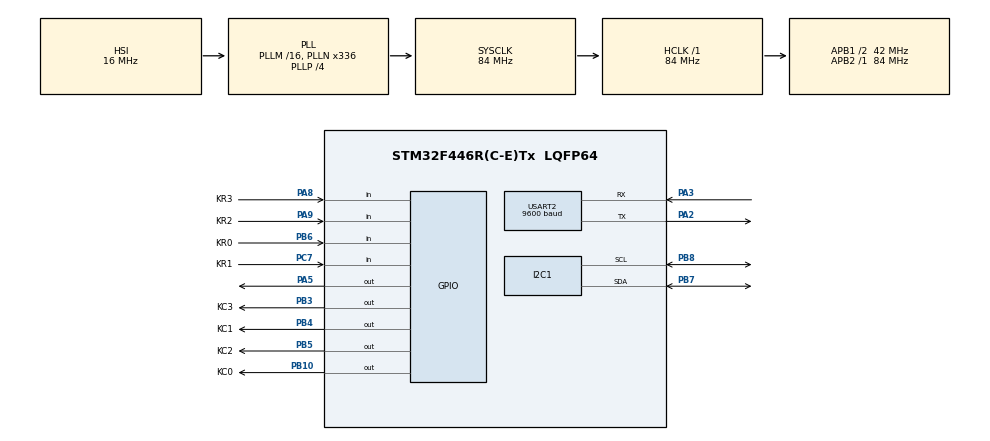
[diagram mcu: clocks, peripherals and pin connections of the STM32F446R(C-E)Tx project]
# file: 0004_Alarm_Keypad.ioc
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I2C1.I2C_Mode=I2C_Fast
Mcu.Family=STM32F4
Mcu.Name=STM32F446R(C-E)Tx
Mcu.Package=LQFP64
NVIC.PriorityGroup=NVIC_PRIORITYGROUP_0
NVIC.TIM6_DAC_IRQn=true\:0\:0\:false\:false\:true\:false\:true\:true
NVIC.TimeBase=TIM6_DAC_IRQn
NVIC.TimeBaseIP=TIM6
PA13.Mode=Serial_Wire
PA13.Signal=SYS_JTMS-SWDIO
PA14.Mode=Serial_Wire
PA14.Signal=SYS_JTCK-SWCLK
PA2.Mode=Asynchronous
PA2.Signal=USART2_TX
PA3.Mode=Asynchronous
PA3.Signal=USART2_RX
PA5.Signal=GPIO_Output
PA8.GPIO_Label=KR3
PA8.GPIO_PuPd=GPIO_PULLDOWN
PA8.Signal=GPIO_Input
PA9.GPIO_Label=KR2
PA9.GPIO_PuPd=GPIO_PULLDOWN
PA9.Signal=GPIO_Input
PB10.GPIO_Label=KC0
PB10.Signal=GPIO_Output
PB3.GPIO_Label=KC3
PB3.Signal=GPIO_Output
PB4.GPIO_Label=KC1
PB4.Signal=GPIO_Output
PB5.GPIO_Label=KC2
PB5.Signal=GPIO_Output
PB6.GPIO_Label=KR0
PB6.GPIO_PuPd=GPIO_PULLDOWN
PB6.Signal=GPIO_Input
PB7.Mode=I2C
PB7.Signal=I2C1_SDA
PB8.Mode=I2C
PB8.Signal=I2C1_SCL
PC14-OSC32_IN.Mode=LSE-External-Oscillator
PC14-OSC32_IN.Signal=RCC_OSC32_IN
PC15-OSC32_OUT.Mode=LSE-External-Oscillator
PC15-OSC32_OUT.Signal=RCC_OSC32_OUT
PC7.GPIO_Label=KR1
PC7.GPIO_PuPd=GPIO_PULLDOWN
PC7.Signal=GPIO_Input
PH0-OSC_IN.Mode=HSE-External-Oscillator
PH0-OSC_IN.Signal=RCC_OSC_IN
PH1-OSC_OUT.Mode=HSE-External-Oscillator
PH1-OSC_OUT.Signal=RCC_OSC_OUT
ProjectManager.HeapSize=0x200
ProjectManager.StackSize=0x400
ProjectManager.TargetToolchain=STM32CubeIDE
RCC.48MHZClocksFreq_Value=84000000
RCC.AHBFreq_Value=84000000
RCC.APB1CLKDivider=RCC_HCLK_DIV2
RCC.APB1Freq_Value=42000000
RCC.APB1TimFreq_Value=84000000
RCC.APB2Freq_Value=84000000
RCC.APB2TimFreq_Value=84000000
RCC.CortexFreq_Value=84000000
RCC.FLatency-AdvancedSettings=FLASH_LATENCY_2
RCC.HCLKFreq_Value=84000000
RCC.HSE_VALUE=8000000
RCC.HSI_VALUE=16000000
RCC.PLLN=336
RCC.PLLP=RCC_PLLP_DIV4
RCC.SYSCLKFreq_VALUE=84000000
RCC.SYSCLKSource=RCC_SYSCLKSOURCE_PLLCLK
RCC.USBFreq_Value=168000000
RCC.VCOOutputFreq_Value=336000000
USART2.BaudRate=9600
USART2.VirtualMode=VM_ASYNC
VP_SYS_VS_tim6.Mode=TIM6
board=NUCLEO-F446RE

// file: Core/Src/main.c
/* USER CODE BEGIN Header */
/**
  ******************************************************************************
  * @file           : main.c
  * @brief          : Main program body
  ******************************************************************************
  * @attention
  *
  * Copyright (c) 2024 STMicroelectronics.
  * All rights reserved.
  *
  * This software is licensed under terms that can be found in the LICENSE file
  * in the root directory of this software component.
  * If no LICENSE file comes with this software, it is provided AS-IS.
  *
  ******************************************************************************
  */
/* USER CODE END Header */
#include "main.h"

/* USER CODE BEGIN Includes */
#include "Keypad4X4.h"
#include <stdio.h>
#include <string.h>
#include <stdlib.h>
#include "fonts.h"
#include "ssd1306.h"

/* USER CODE END Includes */

I2C_HandleTypeDef hi2c1;

UART_HandleTypeDef huart2;

/* USER CODE BEGIN PV */
extern char key;
char hold[4];
/* USER CODE END PV */

void SystemClock_Config(void);
static void MX_GPIO_Init(void);
static void MX_USART2_UART_Init(void);
static void MX_I2C1_Init(void);

int main(void)
{

  /* MCU Configuration--------------------------------------------------------*/

  /* Reset of all peripherals, Initializes the Flash interface and the Systick. */
  HAL_Init();

  /* Configure the system clock */
  SystemClock_Config();

  /* Initialize all configured peripherals */
  MX_GPIO_Init();
  MX_USART2_UART_Init();
  MX_I2C1_Init();
  /* USER CODE BEGIN 2 */
  /* USER CODE BEGIN 2 */
    SSD1306_Init();
    SSD1306_GotoXY (0,0);
    //SSD1306_Puts ("Voltage:", &Font_11x18, 1);
    SSD1306_Puts ("Enter Code:", &Font_11x18, 1);
    SSD1306_GotoXY (0, 30);
    SSD1306_UpdateScreen();
    SSD1306_UpdateScreen();
    HAL_Delay (500);

  /* USER CODE END 2 */

  /* Infinite loop */
  while (1)
  {

    /* USER CODE BEGIN 3 */
	/* D10 to D7 as input pins for row 0 to row 3. D6 to D3 as output for column pins C1 to C3*/
	  key = Get_Key();
	  sprintf(hold, "%c", key);
	  HAL_UART_Transmit(&huart2, (uint8_t *)hold, strlen(hold), 100);
	  SSD1306_GotoXY (0, 30);
	  SSD1306_UpdateScreen();
	  SSD1306_Puts (hold, &Font_11x18, 1);
	  SSD1306_UpdateScreen();
	  HAL_Delay (500);
  }
  /* USER CODE END 3 */
}

void SystemClock_Config(void)
{
  RCC_OscInitTypeDef RCC_OscInitStruct = {0};
  RCC_ClkInitTypeDef RCC_ClkInitStruct = {0};

  /** Configure the main internal regulator output voltage
  */
  __HAL_RCC_PWR_CLK_ENABLE();
  __HAL_PWR_VOLTAGESCALING_CONFIG(PWR_REGULATOR_VOLTAGE_SCALE3);

  /** Initializes the RCC Oscillators according to the specified parameters
  * in the RCC_OscInitTypeDef structure.
  */
  RCC_OscInitStruct.OscillatorType = RCC_OSCILLATORTYPE_HSI;
  RCC_OscInitStruct.HSIState = RCC_HSI_ON;
  RCC_OscInitStruct.HSICalibrationValue = RCC_HSICALIBRATION_DEFAULT;
  RCC_OscInitStruct.PLL.PLLState = RCC_PLL_ON;
  RCC_OscInitStruct.PLL.PLLSource = RCC_PLLSOURCE_HSI;
  RCC_OscInitStruct.PLL.PLLM = 16;
  RCC_OscInitStruct.PLL.PLLN = 336;
  RCC_OscInitStruct.PLL.PLLP = RCC_PLLP_DIV4;
  RCC_OscInitStruct.PLL.PLLQ = 2;
  RCC_OscInitStruct.PLL.PLLR = 2;
  if (HAL_RCC_OscConfig(&RCC_OscInitStruct) != HAL_OK)
  {
    Error_Handler();
  }

  /** Initializes the CPU, AHB and APB buses clocks
  */
  RCC_ClkInitStruct.ClockType = RCC_CLOCKTYPE_HCLK|RCC_CLOCKTYPE_SYSCLK
                              |RCC_CLOCKTYPE_PCLK1|RCC_CLOCKTYPE_PCLK2;
  RCC_ClkInitStruct.SYSCLKSource = RCC_SYSCLKSOURCE_PLLCLK;
  RCC_ClkInitStruct.AHBCLKDivider = RCC_SYSCLK_DIV1;
  RCC_ClkInitStruct.APB1CLKDivider = RCC_HCLK_DIV2;
  RCC_ClkInitStruct.APB2CLKDivider = RCC_HCLK_DIV1;

  if (HAL_RCC_ClockConfig(&RCC_ClkInitStruct, FLASH_LATENCY_2) != HAL_OK)
  {
    Error_Handler();
  }
}

static void MX_I2C1_Init(void)
{

  hi2c1.Instance = I2C1;
  hi2c1.Init.ClockSpeed = 400000;
  hi2c1.Init.DutyCycle = I2C_DUTYCYCLE_2;
  hi2c1.Init.OwnAddress1 = 0;
  hi2c1.Init.AddressingMode = I2C_ADDRESSINGMODE_7BIT;
  hi2c1.Init.DualAddressMode = I2C_DUALADDRESS_DISABLE;
  hi2c1.Init.OwnAddress2 = 0;
  hi2c1.Init.GeneralCallMode = I2C_GENERALCALL_DISABLE;
  hi2c1.Init.NoStretchMode = I2C_NOSTRETCH_DISABLE;
  if (HAL_I2C_Init(&hi2c1) != HAL_OK)
  {
    Error_Handler();
  }

}

static void MX_USART2_UART_Init(void)
{

  huart2.Instance = USART2;
  huart2.Init.BaudRate = 9600;
  huart2.Init.WordLength = UART_WORDLENGTH_8B;
  huart2.Init.StopBits = UART_STOPBITS_1;
  huart2.Init.Parity = UART_PARITY_NONE;
  huart2.Init.Mode = UART_MODE_TX_RX;
  huart2.Init.HwFlowCtl = UART_HWCONTROL_NONE;
  huart2.Init.OverSampling = UART_OVERSAMPLING_16;
  if (HAL_UART_Init(&huart2) != HAL_OK)
  {
    Error_Handler();
  }

}

static void MX_GPIO_Init(void)
{
  GPIO_InitTypeDef GPIO_InitStruct = {0};

  /* GPIO Ports Clock Enable */
  __HAL_RCC_GPIOC_CLK_ENABLE();
  __HAL_RCC_GPIOH_CLK_ENABLE();
  __HAL_RCC_GPIOA_CLK_ENABLE();
  __HAL_RCC_GPIOB_CLK_ENABLE();

  /*Configure GPIO pin Output Level */
  HAL_GPIO_WritePin(GPIOA, GPIO_PIN_5, GPIO_PIN_RESET);

  /*Configure GPIO pin Output Level */
  HAL_GPIO_WritePin(GPIOB, KC0_Pin|KC3_Pin|KC1_Pin|KC2_Pin, GPIO_PIN_RESET);

  /*Configure GPIO pin : PA5 */
  GPIO_InitStruct.Pin = GPIO_PIN_5;
  GPIO_InitStruct.Mode = GPIO_MODE_OUTPUT_PP;
  GPIO_InitStruct.Pull = GPIO_NOPULL;
  GPIO_InitStruct.Speed = GPIO_SPEED_FREQ_LOW;
  HAL_GPIO_Init(GPIOA, &GPIO_InitStruct);

  /*Configure GPIO pins : KC0_Pin KC3_Pin KC1_Pin KC2_Pin */
  GPIO_InitStruct.Pin = KC0_Pin|KC3_Pin|KC1_Pin|KC2_Pin;
  GPIO_InitStruct.Mode = GPIO_MODE_OUTPUT_PP;
  GPIO_InitStruct.Pull = GPIO_NOPULL;
  GPIO_InitStruct.Speed = GPIO_SPEED_FREQ_LOW;
  HAL_GPIO_Init(GPIOB, &GPIO_InitStruct);

  /*Configure GPIO pin : KR1_Pin */
  GPIO_InitStruct.Pin = KR1_Pin;
  GPIO_InitStruct.Mode = GPIO_MODE_INPUT;
  GPIO_InitStruct.Pull = GPIO_PULLDOWN;
  HAL_GPIO_Init(KR1_GPIO_Port, &GPIO_InitStruct);

  /*Configure GPIO pins : KR3_Pin KR2_Pin */
  GPIO_InitStruct.Pin = KR3_Pin|KR2_Pin;
  GPIO_InitStruct.Mode = GPIO_MODE_INPUT;
  GPIO_InitStruct.Pull = GPIO_PULLDOWN;
  HAL_GPIO_Init(GPIOA, &GPIO_InitStruct);

  /*Configure GPIO pin : KR0_Pin */
  GPIO_InitStruct.Pin = KR0_Pin;
  GPIO_InitStruct.Mode = GPIO_MODE_INPUT;
  GPIO_InitStruct.Pull = GPIO_PULLDOWN;
  HAL_GPIO_Init(KR0_GPIO_Port, &GPIO_InitStruct);

}

void HAL_TIM_PeriodElapsedCallback(TIM_HandleTypeDef *htim)
{
  if (htim->Instance == TIM6) {
    HAL_IncTick();
  }
}

void Error_Handler(void)
{
  __disable_irq();
  while (1)
  {
  }
}
